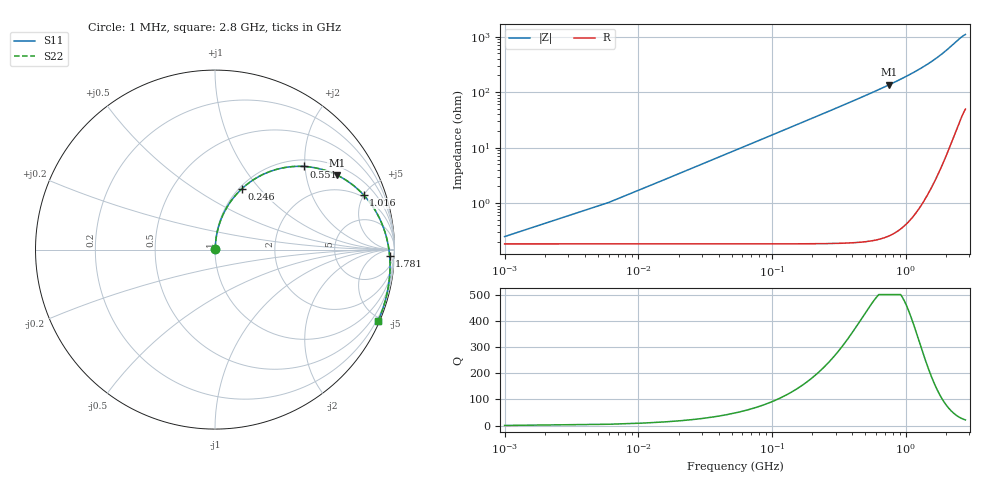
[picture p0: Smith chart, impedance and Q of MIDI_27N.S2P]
! Coilcraft 1812SMS-27N Midi Spring Air Core Inductor
! 10 June 2003
# MHZ S MA R 50
!Freq  MagS11  AngS11  MagS21  AngS21  MagS12  AngS12  MagS22  AngS22
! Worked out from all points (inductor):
!   561 points, 1 MHz to 2.8 GHz, reference 50 ohm
!   read as one part in series: L = 26.8 nH near 11 MHz
!   highest Q = 528 at 756 MHz (marker M1), where L = 28.7 nH
!   S11 on the Smith chart (normalised r, x): 1 MHz: 1.00, +0.00; 246 MHz: 1.03, +0.81; 551 MHz: 1.15, +1.98; 1.016 GHz: 1.81, +4.97; 1.781 GHz: 28, -36; 2.8 GHz: 0.10, -4.75
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1  0.00245 41.3  0.9982 -0.1  0.9982 -0.1  0.00245 41.3
6  0.009885 78.7  0.9981 -0.6  0.9981 -0.6  0.009888 78.7
16  0.02596 84.3  0.9978 -1.6  0.9978 -1.6  0.02597 84.3
21  0.03403 84.8  0.9976 -2.1  0.9976 -2.1  0.03404 84.8
26  0.04209 84.9  0.9973 -2.6  0.9973 -2.6  0.04211 84.9
36  0.05822 84.6  0.9965 -3.6  0.9965 -3.6  0.05823 84.6
56  0.09034 83.2  0.9941 -5.6  0.9941 -5.6  0.09036 83.2
86  0.138 80.7  0.9886 -8.6  0.9886 -8.6  0.1381 80.7
131  0.2079 76.5  0.9763 -13.0  0.9763 -13.0  0.2079 76.5
181  0.2822 71.9  0.9576 -17.7  0.9576 -17.7  0.2823 71.9
246  0.3724 66.1  0.9263 -23.7  0.9263 -23.7  0.3725 66.1
346  0.4942 57.6  0.8677 -32.2  0.8677 -32.2  0.4943 57.6
471  0.6168 48.3  0.7855 -41.6  0.7855 -41.6  0.617 48.3
551  0.6795 43.0  0.7321 -46.9  0.7321 -46.9  0.6797 43.0
756  0.7957 31.5  0.6039 -58.4  0.6039 -58.4  0.796 31.5
936  0.8606 23.4  0.5072 -66.5  0.5072 -66.5  0.8609 23.4
1016  0.8819 20.2  0.4692 -69.6  0.4692 -69.6  0.8821 20.2
1401  0.9452 7.7  0.3221 -82.0  0.3221 -82.0  0.9455 7.7
1781  0.9733 -2.0  0.2208 -91.5  0.2208 -91.5  0.9735 -2.0
1871  0.9773 -4.1  0.2016 -93.5  0.2016 -93.5  0.9775 -4.1
2336  0.9888 -14.1  0.1259 -102.7  0.1259 -102.7  0.9891 -14.1
2800  0.9918 -23.8  0.08691 -111.1  0.08691 -111.1  0.9921 -23.8
